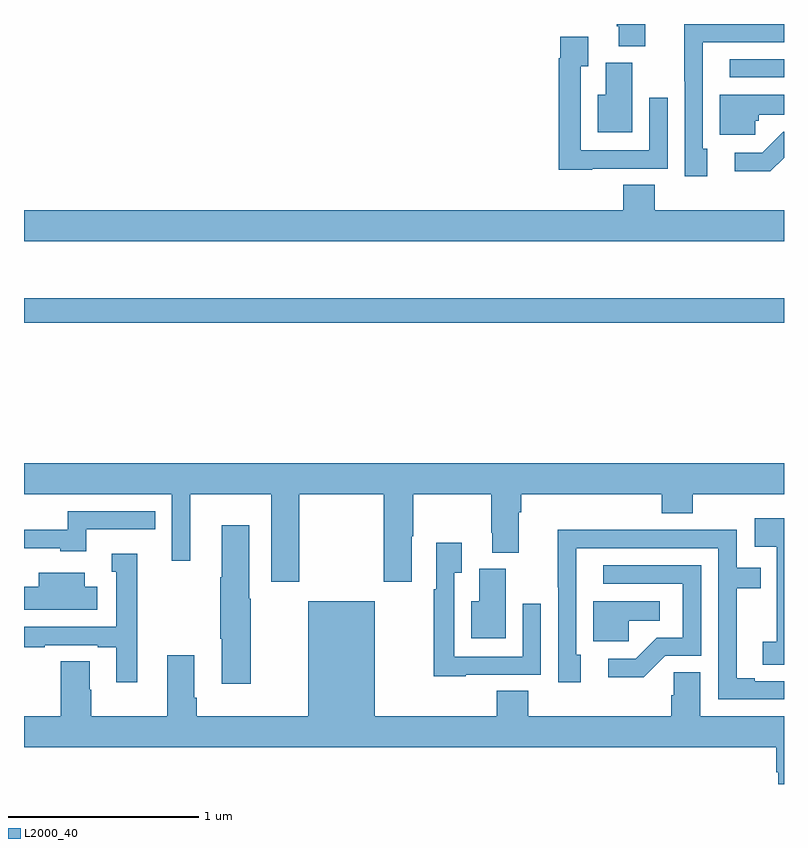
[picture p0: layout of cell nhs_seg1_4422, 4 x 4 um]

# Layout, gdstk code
import gdstk
lib = gdstk.Library(unit=1e-6, precision=1e-09)
def R(c, l, rs):  # rectangles x0, y0, x1, y1
    for r in rs: c.add(gdstk.rectangle(r[:2], r[2:], *l))
def P(c, l, *ps):  # polygons
    for p in ps: c.add(gdstk.Polygon(p, *l))
L2000_40 = (2000, 40)

nhs_seg1_4422 = lib.new_cell('nhs_seg1_4422')
R(nhs_seg1_4422, L2000_40, [(351,560.626,355,560.755), (354.714,561.918,355,562.014)])
P(nhs_seg1_4422, L2000_40, [(354.595,561.543),(354.573,561.543),(354.573,562.104),(355,562.104),(355,562.199),(354.476,562.199),(354.476,561.898),(354.477,561.898),(354.477,561.399),(354.595,561.399)],
  [(354.271,562.199),(354.119,562.199),(354.119,562.186),(354.131,562.186),(354.131,562.081),(354.271,562.081)],
  [(353.991,561.438),(354.387,561.438),(354.387,561.811),(354.291,561.811),(354.291,561.534),(353.931,561.534),(353.931,561.976),(353.971,561.976),(353.971,562.132),(353.823,562.132),(353.823,562.019),(353.815,562.019),(353.815,561.431),(353.991,561.431)],
  [(354.202,561.996),(354.062,561.996),(354.062,561.826),(354.02,561.826),(354.02,561.629),(354.202,561.629)],
  [(354.849,561.69),(354.868,561.69),(354.868,561.722),(355,561.722),(355,561.826),(354.662,561.826),(354.662,561.615),(354.849,561.615)],
  [(355,561.496),(355,561.633),(354.996,561.633),(354.885,561.522),(354.741,561.522),(354.741,561.425),(354.928,561.425)],
  [(355,561.22),(354.32,561.22),(354.32,561.353),(354.155,561.353),(354.155,561.22),(351,561.22),(351,561.056),(355,561.056)],
  [(352.449,559.724),(352.894,559.724),(352.894,559.263),(353.041,559.263),(353.041,559.502),(353.049,559.502),(353.049,559.724),(353.458,559.724),(353.458,559.522),(353.465,559.522),(353.465,559.417),(353.605,559.417),(353.605,559.628),(353.618,559.628),(353.618,559.724),(354.356,559.724),(354.356,559.625),(354.521,559.625),(354.521,559.724),(355,559.724),(355,559.888),(351,559.888),(351,559.724),(351.777,559.724),(351.777,559.374),(351.874,559.374),(351.874,559.724),(352.301,559.724),(352.301,559.263),(352.449,559.263)],
  [(351.328,559.539),(351.692,559.539),(351.692,559.635),(351.229,559.635),(351.229,559.536),(351,559.536),(351,559.44),(351.192,559.44),(351.192,559.424),(351.328,559.424)],
  [(355,559.597),(354.846,559.597),(354.846,559.449),(354.963,559.449),(354.963,559.145),(354.962,559.145),(354.962,558.948),(354.888,558.948),(354.888,558.826),(355,558.826)],
  [(352.194,559.175),(352.186,559.175),(352.186,559.561),(352.04,559.561),(352.04,559.286),(352.033,559.286),(352.033,558.964),(352.04,558.964),(352.04,558.726),(352.194,558.726)],
  [(355,558.741),(354.847,558.741),(354.847,558.756),(354.751,558.756),(354.751,559.23),(354.878,559.23),(354.878,559.338),(354.75,559.338),(354.75,559.536),(354.272,559.536),(354.272,559.538),(353.81,559.538),(353.81,559.234),(353.811,559.234),(353.811,558.735),(353.929,558.735),(353.929,558.879),(353.907,558.879),(353.907,559.44),(354.654,559.44),(354.654,558.645),(355,558.645)],
  [(353.325,558.774),(353.721,558.774),(353.721,559.147),(353.625,559.147),(353.625,558.87),(353.265,558.87),(353.265,559.312),(353.305,559.312),(353.305,559.468),(353.169,559.468),(353.169,559.223),(353.157,559.223),(353.157,558.767),(353.325,558.767)],
  [(351.595,559.411),(351.461,559.411),(351.461,559.317),(351.486,559.317),(351.486,559.026),(351,559.026),(351,558.918),(351.11,558.918),(351.11,558.93),(351.389,558.93),(351.389,558.918),(351.485,558.918),(351.485,558.735),(351.595,558.735)],
  [(354.375,558.873),(354.564,558.873),(354.564,559.35),(354.048,559.35),(354.048,559.254),(354.468,559.254),(354.468,558.969),(354.33,558.969),(354.219,558.858),(354.075,558.858),(354.075,558.761),(354.262,558.761)],
  [(353.536,559.332),(353.396,559.332),(353.396,559.162),(353.354,559.162),(353.354,558.965),(353.536,558.965)],
  [(351.385,559.237),(351.319,559.237),(351.319,559.312),(351.077,559.312),(351.077,559.237),(351,559.237),(351,559.115),(351.385,559.115)],
  [(355,558.556),(354.559,558.556),(354.559,558.788),(354.42,558.788),(354.42,558.665),(354.407,558.665),(354.407,558.556),(353.654,558.556),(353.654,558.689),(353.489,558.689),(353.489,558.556),(352.846,558.556),(352.846,559.162),(352.496,559.162),(352.496,558.556),(351.908,558.556),(351.908,558.652),(351.895,558.652),(351.895,558.877),(351.755,558.877),(351.755,558.556),(351.354,558.556),(351.354,558.695),(351.346,558.695),(351.346,558.845),(351.194,558.845),(351.194,558.556),(351,558.556),(351,558.392),(354.959,558.392),(354.959,558.26),(354.971,558.26),(354.971,558.199),(355,558.199)],
  [(354.183,559.058),(354.346,559.058),(354.346,559.162),(353.996,559.162),(353.996,558.951),(354.183,558.951)])

lib.write_gds('nhs_seg1_4422.gds')
